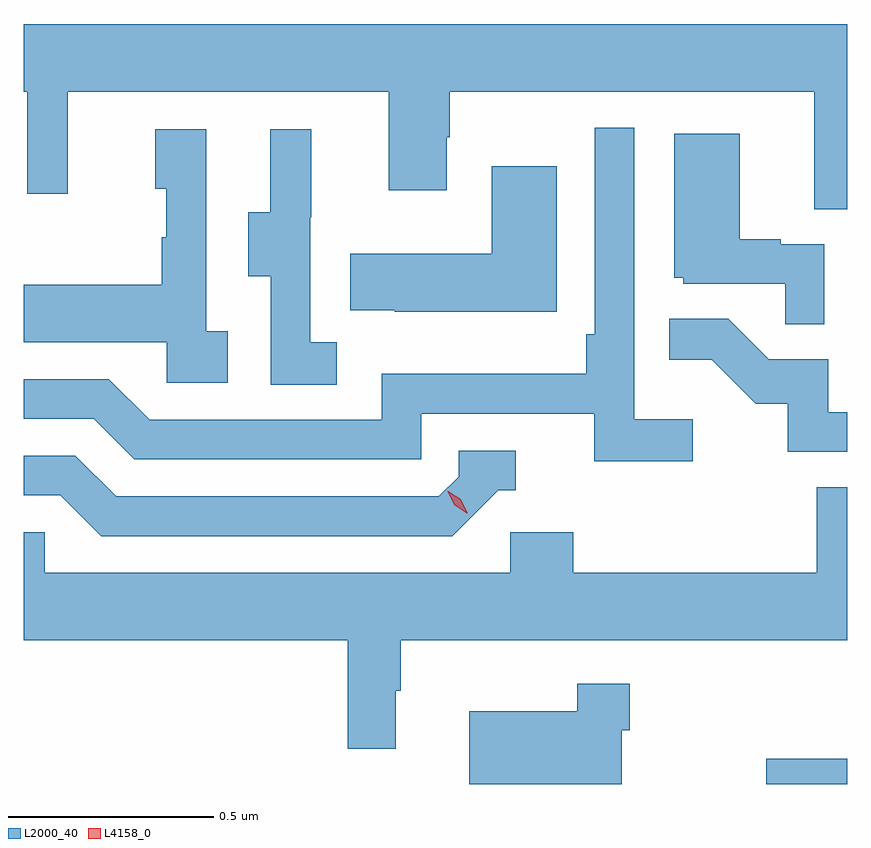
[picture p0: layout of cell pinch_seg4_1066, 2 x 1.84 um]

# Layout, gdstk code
import gdstk
lib = gdstk.Library(unit=1e-6, precision=1e-09)
def R(c, l, rs):  # rectangles x0, y0, x1, y1
    for r in rs: c.add(gdstk.rectangle(r[:2], r[2:], *l))
def P(c, l, *ps):  # polygons
    for p in ps: c.add(gdstk.Polygon(p, *l))
L2000_40 = (2000, 40)
L4158_0 = (4158, 0)

pinch_seg4_1066 = lib.new_cell('pinch_seg4_1066')
R(pinch_seg4_1066, L2000_40, [(818.025,761.839,818.222,761.9)])
P(pinch_seg4_1066, L2000_40, [(818.222,763.684),(816.222,763.684),(816.222,763.52),(816.231,763.52),(816.231,763.272),(816.329,763.272),(816.329,763.52),(817.109,763.52),(817.109,763.281),(817.249,763.281),(817.249,763.409),(817.257,763.409),(817.257,763.52),(818.141,763.52),(818.141,763.234),(818.222,763.234)],
  [(817.846,762.724),(817.704,762.724),(817.704,763.432),(817.608,763.432),(817.608,762.931),(817.588,762.931),(817.588,762.835),(817.092,762.835),(817.092,762.723),(816.528,762.723),(816.429,762.822),(816.222,762.822),(816.222,762.726),(816.392,762.726),(816.491,762.627),(817.188,762.627),(817.188,762.738),(817.607,762.738),(817.607,762.622),(817.846,762.622)],
  [(816.982,762.911),(816.918,762.911),(816.918,763.215),(816.92,763.215),(816.92,763.429),(816.821,763.429),(816.821,763.227),(816.767,763.227),(816.767,763.072),(816.822,763.072),(816.822,762.808),(816.982,762.808)],
  [(816.718,762.938),(816.666,762.938),(816.666,763.429),(816.542,763.429),(816.542,763.284),(816.568,763.284),(816.568,763.166),(816.558,763.166),(816.558,763.051),(816.223,763.051),(816.223,762.911),(816.57,762.911),(816.57,762.813),(816.718,762.813)],
  [(818.166,763.149),(818.06,763.149),(818.06,763.162),(817.96,763.162),(817.96,763.417),(817.802,763.417),(817.802,763.068),(817.824,763.068),(817.824,763.053),(818.071,763.053),(818.071,762.955),(818.166,762.955)],
  [(817.516,763.339),(817.358,763.339),(817.358,763.126),(817.015,763.126),(817.015,762.989),(817.123,762.989),(817.123,762.986),(817.516,762.986)],
  [(818.222,762.741),(818.175,762.741),(818.175,762.87),(818.031,762.87),(817.933,762.968),(817.789,762.968),(817.789,762.869),(817.893,762.869),(818,762.762),(818.077,762.762),(818.077,762.645),(818.222,762.645)],
  [(817.374,762.552),(817.417,762.552),(817.417,762.648),(817.278,762.648),(817.278,762.585),(817.23,762.537),(816.447,762.537),(816.348,762.636),(816.222,762.636),(816.222,762.54),(816.311,762.54),(816.41,762.441),(817.263,762.441)],
  [(817.126,762.065),(817.138,762.065),(817.138,762.188),(818.222,762.188),(818.222,762.56),(818.147,762.56),(818.147,762.352),(817.556,762.352),(817.556,762.45),(817.404,762.45),(817.404,762.352),(816.273,762.352),(816.273,762.45),(816.222,762.45),(816.222,762.188),(817.009,762.188),(817.009,761.925),(817.126,761.925)],
  [(817.674,761.969),(817.694,761.969),(817.694,762.082),(817.566,762.082),(817.566,762.016),(817.304,762.016),(817.304,761.839),(817.674,761.839)])
P(pinch_seg4_1066, L4158_0, [(817.298,762.496),(817.268,762.517),(817.252,762.55),(817.252,762.55),(817.253,762.55),(817.283,762.53),(817.299,762.497),(817.299,762.496)])

lib.write_gds('pinch_seg4_1066.gds')
